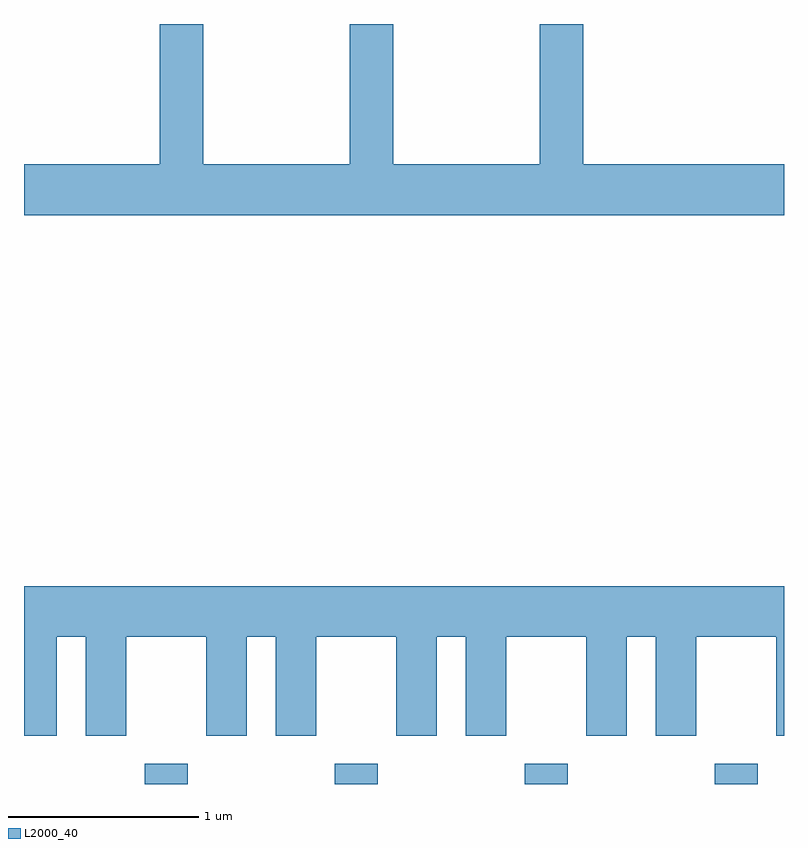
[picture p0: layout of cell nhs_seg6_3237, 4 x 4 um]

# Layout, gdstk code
import gdstk
lib = gdstk.Library(unit=1e-6, precision=1e-09)
def R(c, l, rs):  # rectangles x0, y0, x1, y1
    for r in rs: c.add(gdstk.rectangle(r[:2], r[2:], *l))
def A(c, l, x, y, w, h, nx, ny, dx, dy):  # array of equal rectangles
    R(c, l, [(x+i*dx, y+j*dy, x+i*dx+w, y+j*dy+h) for i in range(nx) for j in range(ny)])
def P(c, l, *ps):  # polygons
    for p in ps: c.add(gdstk.Polygon(p, *l))
L2000_40 = (2000, 40)

nhs_seg6_3237 = lib.new_cell('nhs_seg6_3237')
A(nhs_seg6_3237, L2000_40, 284.246, 1538.162, 0.228, 0.107, 4, 1, 1, 0)
P(nhs_seg6_3237, L2000_40, [(287.611,1541.424),(286.554,1541.424),(286.554,1542.162),(286.326,1542.162),(286.326,1541.424),(285.554,1541.424),(285.554,1542.162),(285.326,1542.162),(285.326,1541.424),(284.554,1541.424),(284.554,1542.162),(284.326,1542.162),(284.326,1541.424),(283.611,1541.424),(283.611,1541.156),(287.611,1541.156)],
  [(283.784,1538.936),(283.936,1538.936),(283.936,1538.416),(284.149,1538.416),(284.149,1538.936),(284.571,1538.936),(284.571,1538.416),(284.784,1538.416),(284.784,1538.936),(284.936,1538.936),(284.936,1538.416),(285.149,1538.416),(285.149,1538.936),(285.571,1538.936),(285.571,1538.416),(285.784,1538.416),(285.784,1538.936),(285.936,1538.936),(285.936,1538.416),(286.149,1538.416),(286.149,1538.936),(286.571,1538.936),(286.571,1538.416),(286.784,1538.416),(286.784,1538.936),(286.936,1538.936),(286.936,1538.416),(287.149,1538.416),(287.149,1538.936),(287.571,1538.936),(287.571,1538.416),(287.611,1538.416),(287.611,1539.204),(283.611,1539.204),(283.611,1538.416),(283.784,1538.416)])

lib.write_gds('nhs_seg6_3237.gds')
